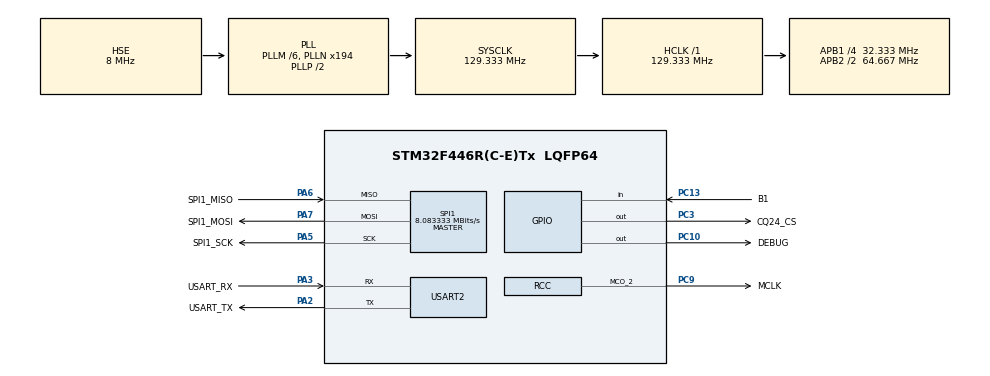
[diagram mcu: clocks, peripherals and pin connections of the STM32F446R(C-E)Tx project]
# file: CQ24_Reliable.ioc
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Dma.Request0=SPI1_TX
Dma.SPI1_TX.0.Direction=DMA_MEMORY_TO_PERIPH
Dma.SPI1_TX.0.FIFOMode=DMA_FIFOMODE_DISABLE
Dma.SPI1_TX.0.Instance=DMA2_Stream3
Dma.SPI1_TX.0.MemDataAlignment=DMA_MDATAALIGN_HALFWORD
Dma.SPI1_TX.0.MemInc=DMA_MINC_ENABLE
Dma.SPI1_TX.0.Mode=DMA_NORMAL
Dma.SPI1_TX.0.PeriphDataAlignment=DMA_PDATAALIGN_HALFWORD
Dma.SPI1_TX.0.PeriphInc=DMA_PINC_DISABLE
Dma.SPI1_TX.0.Priority=DMA_PRIORITY_LOW
Mcu.Family=STM32F4
Mcu.Name=STM32F446R(C-E)Tx
Mcu.Package=LQFP64
NVIC.DMA2_Stream3_IRQn=true\:0\:0\:false\:false\:true\:false\:true\:true
NVIC.PriorityGroup=NVIC_PRIORITYGROUP_4
NVIC.USART2_IRQn=true\:0\:0\:false\:false\:true\:true\:true\:true
PA13.GPIO_Label=TMS
PA13.Mode=Serial_Wire
PA13.Signal=SYS_JTMS-SWDIO
PA14.GPIO_Label=TCK
PA14.Mode=Serial_Wire
PA14.Signal=SYS_JTCK-SWCLK
PA2.GPIO_Label=USART_TX
PA2.Mode=Asynchronous
PA2.Signal=USART2_TX
PA3.GPIO_Label=USART_RX
PA3.Mode=Asynchronous
PA3.Signal=USART2_RX
PA5.GPIO_Label=SPI1_SCK
PA5.Mode=Full_Duplex_Master
PA5.Signal=SPI1_SCK
PA6.GPIO_Label=SPI1_MISO
PA6.Mode=Full_Duplex_Master
PA6.Signal=SPI1_MISO
PA7.GPIO_Label=SPI1_MOSI
PA7.Mode=Full_Duplex_Master
PA7.Signal=SPI1_MOSI
PB3.GPIO_Label=SWO
PB3.Signal=SYS_JTDO-SWO
PC10.GPIO_Label=DEBUG
PC10.GPIO_Speed=GPIO_SPEED_FREQ_VERY_HIGH
PC10.Signal=GPIO_Output
PC13.GPIO_Label=B1
PC13.GPIO_PuPd=GPIO_PULLUP
PC13.Signal=GPIO_Input
PC14-OSC32_IN.Mode=LSE-External-Oscillator
PC14-OSC32_IN.Signal=RCC_OSC32_IN
PC15-OSC32_OUT.Mode=LSE-External-Oscillator
PC15-OSC32_OUT.Signal=RCC_OSC32_OUT
PC3.GPIO_Label=CQ24_CS
PC3.GPIO_Speed=GPIO_SPEED_FREQ_VERY_HIGH
PC3.PinState=GPIO_PIN_SET
PC3.Signal=GPIO_Output
PC9.GPIO_Label=MCLK
PC9.Mode=Clock-out-2
PC9.Signal=RCC_MCO_2
PH0-OSC_IN.Mode=HSE-External-Oscillator
PH0-OSC_IN.Signal=RCC_OSC_IN
PH1-OSC_OUT.Mode=HSE-External-Oscillator
PH1-OSC_OUT.Signal=RCC_OSC_OUT
ProjectManager.HeapSize=0x200
ProjectManager.StackSize=0x400
ProjectManager.TargetToolchain=EWARM V8.50
RCC.48MHZClocksFreq_Value=84000000
RCC.AHBFreq_Value=129333333.33333333
RCC.APB1CLKDivider=RCC_HCLK_DIV4
RCC.APB1Freq_Value=32333333.333333332
RCC.APB1TimFreq_Value=64666666.666666664
RCC.APB2CLKDivider=RCC_HCLK_DIV2
RCC.APB2Freq_Value=64666666.666666664
RCC.APB2TimFreq_Value=129333333.33333333
RCC.CortexFreq_Value=129333333.33333333
RCC.FLatency-AdvancedSettings=FLASH_LATENCY_4
RCC.HCLKFreq_Value=129333333.33333333
RCC.HSE_VALUE=8000000
RCC.HSI_VALUE=16000000
RCC.PLLI2SM=6
RCC.PLLI2SN=194
RCC.PLLI2SR=6
RCC.PLLM=6
RCC.PLLN=194
RCC.PLLR=4
RCC.PLLSourceVirtual=RCC_PLLSOURCE_HSE
RCC.PWREXT_OverDrive=PWREXT_OverDrive_ACTIVATED
RCC.PWR_Regulator_Voltage_Scale=PWR_REGULATOR_VOLTAGE_SCALE1
RCC.RCC_MCO2Source=RCC_MCO2SOURCE_PLLI2SCLK
RCC.RCC_MCODiv2=RCC_MCODIV_4
RCC.SYSCLKFreq_VALUE=129333333.33333333
RCC.SYSCLKSource=RCC_SYSCLKSOURCE_PLLCLK
RCC.USBFreq_Value=129333333.33333333
RCC.VCOOutputFreq_Value=258666666.66666666
SPI1.BaudRatePrescaler=SPI_BAUDRATEPRESCALER_8
SPI1.CLKPhase=SPI_PHASE_2EDGE
SPI1.CalculateBaudRate=8.083333 MBits/s
SPI1.DataSize=SPI_DATASIZE_16BIT
SPI1.Direction=SPI_DIRECTION_2LINES
SPI1.Mode=SPI_MODE_MASTER
SPI1.VirtualType=VM_MASTER
USART2.VirtualMode=VM_ASYNC
board=NUCLEO-F446RE

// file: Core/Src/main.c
/* USER CODE BEGIN Header */
/**
  ******************************************************************************
  * @file           : main.c
  * @brief          : Main program body
  ******************************************************************************
  * @attention
  *
  * Copyright (c) 2024 STMicroelectronics.
  * All rights reserved.
  *
  * This software is licensed under terms that can be found in the LICENSE file
  * in the root directory of this software component.
  * If no LICENSE file comes with this software, it is provided AS-IS.
  *
  ******************************************************************************
  */
/* USER CODE END Header */
#include "main.h"

/* USER CODE BEGIN Includes */
#include <stdio.h>
#include <string.h>
#include "cqic.h"
/* USER CODE END Includes */

/* USER CODE BEGIN PD */
#define PERIOD_SET_ADO      100;
#define PERIOD_DUMP_CQ24    1000;
/* USER CODE END PD */

/* USER CODE BEGIN PV */
char msg_buffer[128];
static uint8_t gn_cq24_set_ado_systick = PERIOD_SET_ADO;
static uint16_t gn_cq24_dump_systick = PERIOD_DUMP_CQ24;

/* USER CODE END PV */

void SystemClock_Config(void);
void PeriphCommonClock_Config(void);
static void MX_GPIO_Init(void);
static void MX_DMA_Init(void);
static void MX_USART2_UART_Init(void);
static void MX_SPI1_Init(void);
/* USER CODE BEGIN PFP */
void sys_tick_handler(void)
{
    if(gn_cq24_set_ado_systick)
    {
        --gn_cq24_set_ado_systick;
    }
    if(gn_cq24_dump_systick)
    {
        --gn_cq24_dump_systick;
    }
}

/* USER CODE END PFP */

/* USER CODE BEGIN 0 */
void print(char* p_data)
{
    uint8_t len = 0;
    len = strlen(p_data);
    for (uint8_t i = 0 ; i < len ; ++i)
    {
        while(!LL_USART_IsActiveFlag_TXE(USART2));
        LL_USART_TransmitData8(USART2, *(p_data + i));
    }
}

/* USER CODE END 0 */

int main(void)
{

  /* MCU Configuration--------------------------------------------------------*/

  /* Reset of all peripherals, Initializes the Flash interface and the Systick. */
  HAL_Init();

  /* Configure the system clock */
  SystemClock_Config();

  /* Configure the peripherals common clocks */
  PeriphCommonClock_Config();

  /* Initialize all configured peripherals */
  MX_GPIO_Init();
  MX_DMA_Init();
  MX_USART2_UART_Init();
  MX_SPI1_Init();
  /* USER CODE BEGIN 2 */
    snprintf(msg_buffer, sizeof(msg_buffer), "CQ24 RELIABLE PGM START!!\r\n");
    print(msg_buffer);

    snprintf(msg_buffer, sizeof(msg_buffer), "Build time : %s / %s\r\n", __DATE__, __TIME__ );
    print(msg_buffer);

    /* delay for CQ24 VCC power on */
    HAL_Delay(9999);

    HAL_RCC_MCOConfig(RCC_MCO2, RCC_MCO2SOURCE_PLLI2SCLK, RCC_MCODIV_4);
    LL_GPIO_SetOutputPin(CQ24_CS_GPIO_Port, CQ24_CS_Pin);

    cqic_init();
  /* USER CODE END 2 */

  /* Infinite loop */
  while (1)
  {

    /* USER CODE BEGIN 3 */
    if (!gn_cq24_set_ado_systick)
    {
        cqic_set_ado(gf_cq24_ado_voltage);
        gn_cq24_set_ado_systick = PERIOD_SET_ADO;
    }

    if (!gn_cq24_dump_systick)
    {
        //dump_cq24_reg();
        gn_cq24_dump_systick = PERIOD_DUMP_CQ24;
    }
  }
  /* USER CODE END 3 */
}

void SystemClock_Config(void)
{
  RCC_OscInitTypeDef RCC_OscInitStruct = {0};
  RCC_ClkInitTypeDef RCC_ClkInitStruct = {0};

  /** Configure the main internal regulator output voltage
  */
  __HAL_RCC_PWR_CLK_ENABLE();
  __HAL_PWR_VOLTAGESCALING_CONFIG(PWR_REGULATOR_VOLTAGE_SCALE1);

  /** Initializes the RCC Oscillators according to the specified parameters
  * in the RCC_OscInitTypeDef structure.
  */
  RCC_OscInitStruct.OscillatorType = RCC_OSCILLATORTYPE_HSE;
  RCC_OscInitStruct.HSEState = RCC_HSE_ON;
  RCC_OscInitStruct.HSIState = RCC_HSI_ON;
  RCC_OscInitStruct.HSICalibrationValue = RCC_HSICALIBRATION_DEFAULT;
  RCC_OscInitStruct.PLL.PLLState = RCC_PLL_ON;
  RCC_OscInitStruct.PLL.PLLSource = RCC_PLLSOURCE_HSE;
  RCC_OscInitStruct.PLL.PLLM = 6;
  RCC_OscInitStruct.PLL.PLLN = 194;
  RCC_OscInitStruct.PLL.PLLP = RCC_PLLP_DIV2;
  RCC_OscInitStruct.PLL.PLLQ = 2;
  RCC_OscInitStruct.PLL.PLLR = 4;
  if (HAL_RCC_OscConfig(&RCC_OscInitStruct) != HAL_OK)
  {
    Error_Handler();
  }

  /** Activate the Over-Drive mode
  */
  if (HAL_PWREx_EnableOverDrive() != HAL_OK)
  {
    Error_Handler();
  }

  /** Initializes the CPU, AHB and APB buses clocks
  */
  RCC_ClkInitStruct.ClockType = RCC_CLOCKTYPE_HCLK|RCC_CLOCKTYPE_SYSCLK
                              |RCC_CLOCKTYPE_PCLK1|RCC_CLOCKTYPE_PCLK2;
  RCC_ClkInitStruct.SYSCLKSource = RCC_SYSCLKSOURCE_PLLCLK;
  RCC_ClkInitStruct.AHBCLKDivider = RCC_SYSCLK_DIV1;
  RCC_ClkInitStruct.APB1CLKDivider = RCC_HCLK_DIV4;
  RCC_ClkInitStruct.APB2CLKDivider = RCC_HCLK_DIV2;

  if (HAL_RCC_ClockConfig(&RCC_ClkInitStruct, FLASH_LATENCY_4) != HAL_OK)
  {
    Error_Handler();
  }
  HAL_RCC_MCOConfig(RCC_MCO2, RCC_MCO2SOURCE_PLLI2SCLK, RCC_MCODIV_4);
}

void PeriphCommonClock_Config(void)
{
  RCC_PeriphCLKInitTypeDef PeriphClkInitStruct = {0};

  /** Initializes the peripherals clock
  */
  PeriphClkInitStruct.PeriphClockSelection = RCC_PERIPHCLK_PLLI2S;
  PeriphClkInitStruct.PLLI2S.PLLI2SN = 194;
  PeriphClkInitStruct.PLLI2S.PLLI2SP = RCC_PLLI2SP_DIV2;
  PeriphClkInitStruct.PLLI2S.PLLI2SM = 6;
  PeriphClkInitStruct.PLLI2S.PLLI2SR = 6;
  PeriphClkInitStruct.PLLI2S.PLLI2SQ = 2;
  PeriphClkInitStruct.PLLI2SDivQ = 1;
  if (HAL_RCCEx_PeriphCLKConfig(&PeriphClkInitStruct) != HAL_OK)
  {
    Error_Handler();
  }
}

static void MX_SPI1_Init(void)
{

  LL_SPI_InitTypeDef SPI_InitStruct = {0};

  LL_GPIO_InitTypeDef GPIO_InitStruct = {0};

  /* Peripheral clock enable */
  LL_APB2_GRP1_EnableClock(LL_APB2_GRP1_PERIPH_SPI1);

  LL_AHB1_GRP1_EnableClock(LL_AHB1_GRP1_PERIPH_GPIOA);
  /**SPI1 GPIO Configuration
  PA5   ------> SPI1_SCK
  PA6   ------> SPI1_MISO
  PA7   ------> SPI1_MOSI
  */
  GPIO_InitStruct.Pin = SPI1_SCK_Pin|SPI1_MISO_Pin|SPI1_MOSI_Pin;
  GPIO_InitStruct.Mode = LL_GPIO_MODE_ALTERNATE;
  GPIO_InitStruct.Speed = LL_GPIO_SPEED_FREQ_VERY_HIGH;
  GPIO_InitStruct.OutputType = LL_GPIO_OUTPUT_PUSHPULL;
  GPIO_InitStruct.Pull = LL_GPIO_PULL_NO;
  GPIO_InitStruct.Alternate = LL_GPIO_AF_5;
  LL_GPIO_Init(GPIOA, &GPIO_InitStruct);

  /* SPI1 DMA Init */

  /* SPI1_TX Init */
  LL_DMA_SetChannelSelection(DMA2, LL_DMA_STREAM_3, LL_DMA_CHANNEL_3);

  LL_DMA_SetDataTransferDirection(DMA2, LL_DMA_STREAM_3, LL_DMA_DIRECTION_MEMORY_TO_PERIPH);

  LL_DMA_SetStreamPriorityLevel(DMA2, LL_DMA_STREAM_3, LL_DMA_PRIORITY_LOW);

  LL_DMA_SetMode(DMA2, LL_DMA_STREAM_3, LL_DMA_MODE_NORMAL);

  LL_DMA_SetPeriphIncMode(DMA2, LL_DMA_STREAM_3, LL_DMA_PERIPH_NOINCREMENT);

  LL_DMA_SetMemoryIncMode(DMA2, LL_DMA_STREAM_3, LL_DMA_MEMORY_INCREMENT);

  LL_DMA_SetPeriphSize(DMA2, LL_DMA_STREAM_3, LL_DMA_PDATAALIGN_HALFWORD);

  LL_DMA_SetMemorySize(DMA2, LL_DMA_STREAM_3, LL_DMA_MDATAALIGN_HALFWORD);

  LL_DMA_DisableFifoMode(DMA2, LL_DMA_STREAM_3);

  /* SPI1 parameter configuration*/
  SPI_InitStruct.TransferDirection = LL_SPI_FULL_DUPLEX;
  SPI_InitStruct.Mode = LL_SPI_MODE_MASTER;
  SPI_InitStruct.DataWidth = LL_SPI_DATAWIDTH_16BIT;
  SPI_InitStruct.ClockPolarity = LL_SPI_POLARITY_LOW;
  SPI_InitStruct.ClockPhase = LL_SPI_PHASE_2EDGE;
  SPI_InitStruct.NSS = LL_SPI_NSS_SOFT;
  SPI_InitStruct.BaudRate = LL_SPI_BAUDRATEPRESCALER_DIV8;
  SPI_InitStruct.BitOrder = LL_SPI_MSB_FIRST;
  SPI_InitStruct.CRCCalculation = LL_SPI_CRCCALCULATION_DISABLE;
  SPI_InitStruct.CRCPoly = 10;
  LL_SPI_Init(SPI1, &SPI_InitStruct);
  LL_SPI_SetStandard(SPI1, LL_SPI_PROTOCOL_MOTOROLA);
  /* USER CODE BEGIN SPI1_Init 2 */
    LL_SPI_Enable(SPI1);
  /* USER CODE END SPI1_Init 2 */

}

static void MX_USART2_UART_Init(void)
{

  LL_USART_InitTypeDef USART_InitStruct = {0};

  LL_GPIO_InitTypeDef GPIO_InitStruct = {0};

  /* Peripheral clock enable */
  LL_APB1_GRP1_EnableClock(LL_APB1_GRP1_PERIPH_USART2);

  LL_AHB1_GRP1_EnableClock(LL_AHB1_GRP1_PERIPH_GPIOA);
  /**USART2 GPIO Configuration
  PA2   ------> USART2_TX
  PA3   ------> USART2_RX
  */
  GPIO_InitStruct.Pin = USART_TX_Pin|USART_RX_Pin;
  GPIO_InitStruct.Mode = LL_GPIO_MODE_ALTERNATE;
  GPIO_InitStruct.Speed = LL_GPIO_SPEED_FREQ_VERY_HIGH;
  GPIO_InitStruct.OutputType = LL_GPIO_OUTPUT_PUSHPULL;
  GPIO_InitStruct.Pull = LL_GPIO_PULL_NO;
  GPIO_InitStruct.Alternate = LL_GPIO_AF_7;
  LL_GPIO_Init(GPIOA, &GPIO_InitStruct);

  /* USART2 interrupt Init */
  NVIC_SetPriority(USART2_IRQn, NVIC_EncodePriority(NVIC_GetPriorityGrouping(),0, 0));
  NVIC_EnableIRQ(USART2_IRQn);

  USART_InitStruct.BaudRate = 115200;
  USART_InitStruct.DataWidth = LL_USART_DATAWIDTH_8B;
  USART_InitStruct.StopBits = LL_USART_STOPBITS_1;
  USART_InitStruct.Parity = LL_USART_PARITY_NONE;
  USART_InitStruct.TransferDirection = LL_USART_DIRECTION_TX_RX;
  USART_InitStruct.HardwareFlowControl = LL_USART_HWCONTROL_NONE;
  USART_InitStruct.OverSampling = LL_USART_OVERSAMPLING_16;
  LL_USART_Init(USART2, &USART_InitStruct);
  LL_USART_ConfigAsyncMode(USART2);
  LL_USART_Enable(USART2);
  /* USER CODE BEGIN USART2_Init 2 */
    LL_USART_Enable(USART2);
  /* USER CODE END USART2_Init 2 */

}

static void MX_DMA_Init(void)
{

  /* Init with LL driver */
  /* DMA controller clock enable */
  LL_AHB1_GRP1_EnableClock(LL_AHB1_GRP1_PERIPH_DMA2);

  /* DMA interrupt init */
  /* DMA2_Stream3_IRQn interrupt configuration */
  NVIC_SetPriority(DMA2_Stream3_IRQn, NVIC_EncodePriority(NVIC_GetPriorityGrouping(),0, 0));
  NVIC_EnableIRQ(DMA2_Stream3_IRQn);

}

static void MX_GPIO_Init(void)
{
  LL_GPIO_InitTypeDef GPIO_InitStruct = {0};

  /* GPIO Ports Clock Enable */
  LL_AHB1_GRP1_EnableClock(LL_AHB1_GRP1_PERIPH_GPIOC);
  LL_AHB1_GRP1_EnableClock(LL_AHB1_GRP1_PERIPH_GPIOH);
  LL_AHB1_GRP1_EnableClock(LL_AHB1_GRP1_PERIPH_GPIOA);
  LL_AHB1_GRP1_EnableClock(LL_AHB1_GRP1_PERIPH_GPIOB);

  /**/
  LL_GPIO_SetOutputPin(CQ24_CS_GPIO_Port, CQ24_CS_Pin);

  /**/
  LL_GPIO_ResetOutputPin(DEBUG_GPIO_Port, DEBUG_Pin);

  /**/
  GPIO_InitStruct.Pin = B1_Pin;
  GPIO_InitStruct.Mode = LL_GPIO_MODE_INPUT;
  GPIO_InitStruct.Pull = LL_GPIO_PULL_UP;
  LL_GPIO_Init(B1_GPIO_Port, &GPIO_InitStruct);

  /**/
  GPIO_InitStruct.Pin = CQ24_CS_Pin|DEBUG_Pin;
  GPIO_InitStruct.Mode = LL_GPIO_MODE_OUTPUT;
  GPIO_InitStruct.Speed = LL_GPIO_SPEED_FREQ_VERY_HIGH;
  GPIO_InitStruct.OutputType = LL_GPIO_OUTPUT_PUSHPULL;
  GPIO_InitStruct.Pull = LL_GPIO_PULL_NO;
  LL_GPIO_Init(GPIOC, &GPIO_InitStruct);

  /**/
  GPIO_InitStruct.Pin = MCLK_Pin;
  GPIO_InitStruct.Mode = LL_GPIO_MODE_ALTERNATE;
  GPIO_InitStruct.Speed = LL_GPIO_SPEED_FREQ_LOW;
  GPIO_InitStruct.OutputType = LL_GPIO_OUTPUT_PUSHPULL;
  GPIO_InitStruct.Pull = LL_GPIO_PULL_NO;
  GPIO_InitStruct.Alternate = LL_GPIO_AF_0;
  LL_GPIO_Init(MCLK_GPIO_Port, &GPIO_InitStruct);

/* USER CODE BEGIN MX_GPIO_Init_2 */

  LL_GPIO_ResetOutputPin(CQ24_CS_GPIO_Port, CQ24_CS_Pin);
/* USER CODE END MX_GPIO_Init_2 */
}

void Error_Handler(void)
{
  __disable_irq();
  while (1)
  {
  }
}
